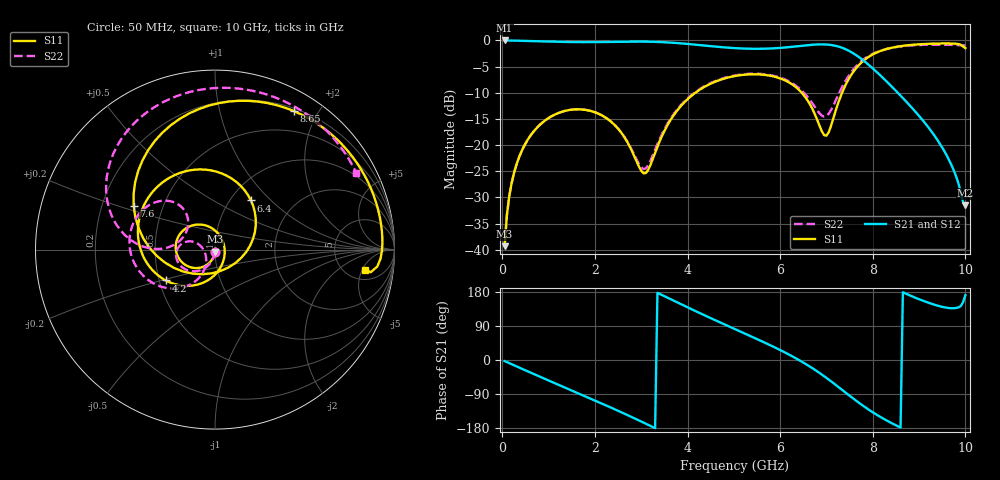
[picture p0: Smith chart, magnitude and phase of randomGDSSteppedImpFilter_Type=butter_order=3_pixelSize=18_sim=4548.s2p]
! freq	dB(S11)	phase(S11)	dB(S12)	phase(S12)
!  dB(S21)	phase(S21)	dB(S22)	phase(S22)
!S-par simulation data
#  GHz  S  DB  R 50
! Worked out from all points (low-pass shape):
!   200 points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, 50 MHz to 10 GHz, reference 50 ohm
!   highest |S21| = 0.00 dB at 50 MHz (marker M1); lowest = -31.5 dB at 10 GHz (marker M2)
!   |S21| within 3 dB of the highest: start of sweep to 7.673 GHz
!   lowest |S11| = -39.3 dB at 50 MHz (marker M3), VSWR 1.02, Z = 49.9 - j1.08 ohm
!   |S11| at or under -10 dB: start of sweep to 4.168 GHz; 6.466 GHz to 7.337 GHz (871.1 MHz wide, 12.6 % of centre)
!   |S22| runs from -39.3 to -0.8 dB; largest |S21 - S12| = 0
!   S11 on the Smith chart (normalised r, x): 50 MHz: 1.00, -0.02; 4.2 GHz: 0.54, -0.21; 6.4 GHz: 1.24, +0.77; 7.6 GHz: 0.34, +0.23; 8.65 GHz: 0.23, +1.70; 10 GHz: 7.32, -5.68
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0.05  -39.30 -92.7  -0.00 -2.8  -0.00 -2.8  -39.30 -92.2
0.1  -33.30 -96.0  -0.01 -5.5  -0.01 -5.5  -33.29 -94.9
0.2  -27.33 -102.2  -0.02 -11.0  -0.02 -11.0  -27.32 -100.0
0.5  -19.71 -120.4  -0.09 -27.3  -0.09 -27.3  -19.69 -115.0
1.15  -14.10 -159.3  -0.25 -62.0  -0.25 -62.0  -14.09 -146.0
1.75  -13.21 164.3  -0.32 -93.6  -0.32 -93.6  -13.20 -172.5
2.45  -16.37 115.1  -0.26 -131.2  -0.26 -131.2  -16.35 162.4
3.05  -25.38 13.6  -0.23 -165.2  -0.23 -165.2  -24.57 -163.1
3.4  -19.21 -75.8  -0.30 174.3  -0.30 174.3  -18.79 -118.9
4.2  -9.79 -148.0  -0.83 127.5  -0.83 127.5  -9.65 -138.8
5.05  -6.75 154.6  -1.48 80.1  -1.48 80.1  -6.64 -174.9
5.8  -6.77 103.7  -1.53 38.2  -1.53 38.2  -6.65 153.7
6.4  -9.39 53.8  -1.08 0.4  -1.08 0.4  -9.06 131.2
6.7  -13.15 15.7  -0.82 -21.9  -0.82 -21.9  -12.08 129.0
7  -18.19 -75.8  -0.78 -47.2  -0.78 -47.2  -14.43 158.0
7.3  -10.82 -165.4  -1.28 -75.2  -1.28 -75.2  -9.59 179.4
7.6  -5.76 151.6  -2.57 -103.7  -2.57 -103.7  -5.34 168.2
8  -2.67 109.5  -5.34 -138.0  -5.34 -138.0  -2.56 143.0
8.35  -1.52 80.8  -8.28 -163.0  -8.28 -163.0  -1.52 121.4
8.65  -1.03 60.2  -11.00 178.7  -11.00 178.7  -1.10 104.2
9.4  -0.59 18.9  -19.06 143.4  -19.06 143.4  -0.80 63.2
10  -1.48 -7.6  -31.50 171.2  -31.50 171.2  -0.96 28.5
